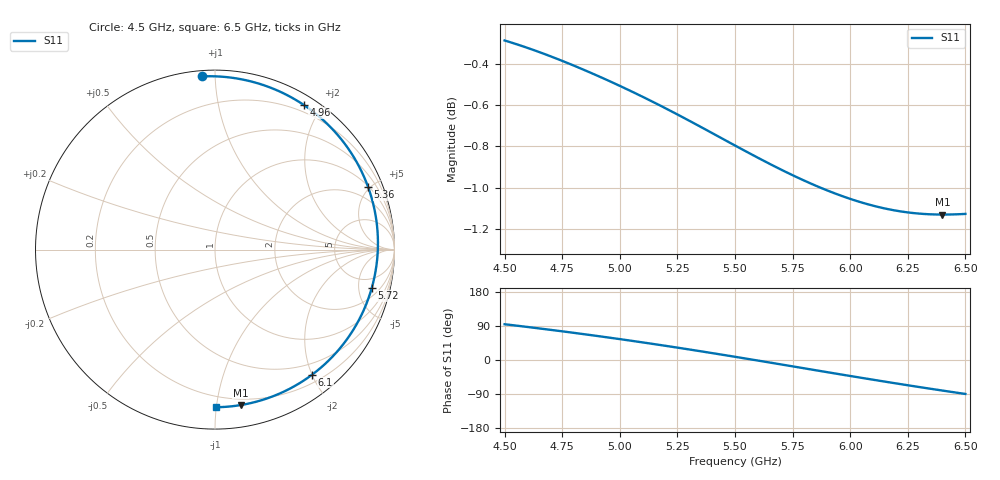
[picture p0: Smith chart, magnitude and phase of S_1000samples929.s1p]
! TOUCHSTONE file generated by CST MICROWAVE STUDIO
! Date and time: Sat Oct 29 20:17:09 2022
! Project name: L.cst
! Parameters = {Di=1.27; Epsilon_r=1.56; InnerDiameter=1.27; Length=2; Lf=10; Lg=60; OuterConductorThickness=0.2921; OuterDiameter=3.6; Wf=3; Wp=41.2; de=1.5; df=6.8; g=0.8; gx=4.92612; gy=2.82057; h=2.34; hf=1.524; px=9.15298; py=8.76504; w=9.7; wx=4.22686; wy=5.94447}
! Header version: 2018
! Port assignment regex: !\s*Touchstone port\s*([0-9]+)\s*=\s*(CST MWS port|CST DS port)\s*([0-9]+|Zmin|Zmax)\s*\(\"(.*)\"\)(\s*mode\s*([0-9]+))?.*
! Touchstone port assignment:
! Touchstone port 1 = CST MWS port 1 ("")
# GHz S DB R 50
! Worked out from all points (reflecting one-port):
!   101 points, 4.5 GHz to 6.5 GHz, reference 50 ohm
!   lowest |S11| = -1.1 dB at 6.4 GHz (marker M1), VSWR 15.38, Z = 7.72 - j58.4 ohm
!   phase of S11 starts at 94 deg and turns -184 deg over the sweep
!   S11 on the Smith chart (normalised r, x): 4.5 GHz: 0.03, +0.93; 4.96 GHz: 0.12, +1.78; 5.36 GHz: 1.06, +4.88; 5.72 GHz: 3.11, -6.94; 6.1 GHz: 0.32, -2.01; 6.5 GHz: 0.13, -1.00
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4.5  -0.28 94.4
4.58  -0.31 88.6
4.64  -0.34 84.1
4.76  -0.39 74.9
4.86  -0.44 66.9
4.96  -0.48 58.5
5  -0.51 55.1
5.06  -0.54 49.9
5.12  -0.57 44.6
5.2  -0.62 37.3
5.26  -0.65 31.7
5.36  -0.71 22.2
5.44  -0.76 14.4
5.5  -0.80 8.5
5.6  -0.86 -1.6
5.66  -0.89 -7.6
5.72  -0.92 -13.7
5.76  -0.94 -17.8
5.82  -0.98 -23.9
5.88  -1.00 -30.0
5.94  -1.03 -36.1
6  -1.05 -42.1
6.1  -1.09 -52.1
6.18  -1.11 -59.9
6.26  -1.12 -67.6
6.32  -1.13 -73.2
6.4  -1.13 -80.6
6.5  -1.13 -89.6
